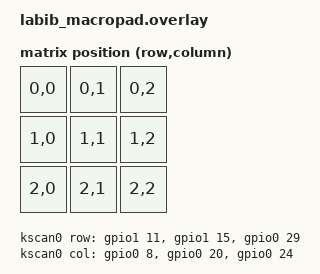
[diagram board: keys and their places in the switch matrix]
#include <physical_layouts.dtsi>
#include <dt-bindings/zmk/matrix_transform.h>

/ {
    chosen {
        zmk,kscan = &kscan0;
        zmk,physical-layout = &physical_layout0;
    };

    kscan0: kscan {
        compatible = "zmk,kscan-gpio-matrix";
        wakeup-source;
        diode-direction = "col2row";
        col-gpios
            = <&gpio0 8  GPIO_ACTIVE_HIGH>
            , <&gpio0 20 GPIO_ACTIVE_HIGH>
            , <&gpio0 24 GPIO_ACTIVE_HIGH>
            ;
        row-gpios
            = <&gpio1 11 GPIO_ACTIVE_HIGH>
            , <&gpio1 15 GPIO_ACTIVE_HIGH>
            , <&gpio0 29 GPIO_ACTIVE_HIGH>
            ;
    };

    default_transform: matrix_transform {
        compatible = "zmk,matrix-transform";
        columns = <3>;
        rows = <3>;
        map = <
            RC(0,0) RC(0,1) RC(0,2)
            RC(1,0) RC(1,1) RC(1,2)
            RC(2,0) RC(2,1) RC(2,2)
        >;
    };

    physical_layout0: physical_layout_0 {
        compatible = "zmk,physical-layout";
        display-name = "Default Layout";
        transform = <&default_transform>;
        kscan = <&kscan0>;
        keys
            = <&key_physical_attrs 100 100 0   0   0 0 0>
            , <&key_physical_attrs 100 100 100 0   0 0 0>
            , <&key_physical_attrs 100 100 200 0   0 0 0>
            , <&key_physical_attrs 100 100 0   100 0 0 0>
            , <&key_physical_attrs 100 100 100 100 0 0 0>
            , <&key_physical_attrs 100 100 200 100 0 0 0>
            , <&key_physical_attrs 100 100 0   200 0 0 0>
            , <&key_physical_attrs 100 100 100 200 0 0 0>
            , <&key_physical_attrs 100 100 200 200 0 0 0>
            ;
    };
};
